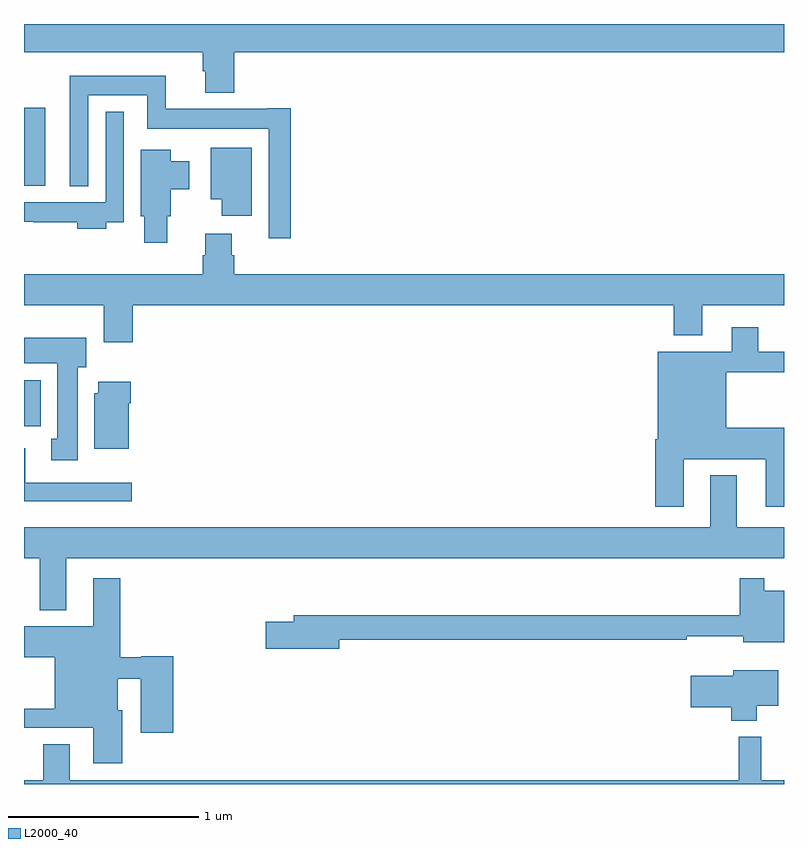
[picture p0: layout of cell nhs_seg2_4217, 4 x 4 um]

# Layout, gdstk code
import gdstk
lib = gdstk.Library(unit=1e-6, precision=1e-09)
def R(c, l, rs):  # rectangles x0, y0, x1, y1
    for r in rs: c.add(gdstk.rectangle(r[:2], r[2:], *l))
def P(c, l, *ps):  # polygons
    for p in ps: c.add(gdstk.Polygon(p, *l))
L2000_40 = (2000, 40)

nhs_seg2_4217 = lib.new_cell('nhs_seg2_4217')
R(nhs_seg2_4217, L2000_40, [(339,629.684,339.088,629.926), (339,630.948,339.112,631.359)])
P(nhs_seg2_4217, L2000_40, [(340.106,631.652),(343,631.652),(343,631.8),(339,631.8),(339,631.652),(339.941,631.652),(339.941,631.551),(339.953,631.551),(339.953,631.439),(340.106,631.439)],
  [(340.403,631.357),(340.28,631.357),(340.28,631.354),(339.746,631.354),(339.746,631.528),(339.242,631.528),(339.242,630.947),(339.339,630.947),(339.339,631.424),(339.648,631.424),(339.648,631.25),(340.287,631.25),(340.287,630.672),(340.403,630.672)],
  [(339.433,630.756),(339.525,630.756),(339.525,631.339),(339.429,631.339),(339.429,630.862),(339,630.862),(339,630.758),(339.049,630.758),(339.049,630.756),(339.281,630.756),(339.281,630.722),(339.433,630.722)],
  [(340.198,631.15),(339.983,631.15),(339.983,630.878),(340.04,630.878),(340.04,630.792),(340.198,630.792)],
  [(339.754,630.789),(339.772,630.789),(339.772,630.931),(339.871,630.931),(339.871,631.078),(339.772,631.078),(339.772,631.138),(339.614,631.138),(339.614,630.789),(339.632,630.789),(339.632,630.648),(339.754,630.648)],
  [(339.572,630.32),(342.419,630.32),(342.419,630.161),(342.571,630.161),(342.571,630.32),(343,630.32),(343,630.484),(340.106,630.484),(340.106,630.582),(340.093,630.582),(340.093,630.697),(339.953,630.697),(339.953,630.582),(339.941,630.582),(339.941,630.484),(339,630.484),(339,630.32),(339.419,630.32),(339.419,630.126),(339.572,630.126)],
  [(342.472,629.51),(342.905,629.51),(342.905,629.259),(343,629.259),(343,629.674),(342.697,629.674),(342.697,629.967),(343,629.967),(343,630.075),(342.865,630.075),(342.865,630.205),(342.725,630.205),(342.725,630.076),(342.335,630.076),(342.335,629.614),(342.323,629.614),(342.323,629.259),(342.472,629.259)],
  [(339.283,629.994),(339.328,629.994),(339.328,630.148),(339,630.148),(339,630.014),(339.176,630.014),(339.176,629.618),(339.143,629.618),(339.143,629.505),(339.283,629.505)],
  [(339.55,629.804),(339.563,629.804),(339.563,629.917),(339.392,629.917),(339.392,629.856),(339.371,629.856),(339.371,629.564),(339.55,629.564)],
  [(339.568,629.385),(339.007,629.385),(339.007,629.566),(339,629.566),(339,629.288),(339.568,629.288)],
  [(339.223,628.988),(343,628.988),(343,629.152),(342.751,629.152),(342.751,629.425),(342.611,629.425),(342.611,629.152),(339,629.152),(339,628.988),(339.083,628.988),(339.083,628.715),(339.223,628.715)],
  [(339.517,628.188),(339.493,628.188),(339.493,628.355),(339.614,628.355),(339.614,628.071),(339.785,628.071),(339.785,628.472),(339.618,628.472),(339.618,628.468),(339.506,628.468),(339.506,628.882),(339.365,628.882),(339.365,628.63),(339,628.63),(339,628.466),(339.161,628.466),(339.161,628.196),(339,628.196),(339,628.095),(339.365,628.095),(339.365,627.909),(339.517,627.909)],
  [(340.66,628.558),(342.489,628.558),(342.489,628.577),(342.785,628.577),(342.785,628.547),(343,628.547),(343,628.816),(342.895,628.816),(342.895,628.882),(342.766,628.882),(342.766,628.687),(340.421,628.687),(340.421,628.653),(340.272,628.653),(340.272,628.511),(340.66,628.511)],
  [(342.856,628.211),(342.97,628.211),(342.97,628.399),(342.734,628.399),(342.734,628.369),(342.51,628.369),(342.51,628.204),(342.722,628.204),(342.722,628.133),(342.856,628.133)],
  [(343,627.82),(342.881,627.82),(342.881,628.048),(342.763,628.048),(342.763,627.82),(339.241,627.82),(339.241,628.01),(339.101,628.01),(339.101,627.82),(339,627.82),(339,627.8),(343,627.8)])

lib.write_gds('nhs_seg2_4217.gds')
